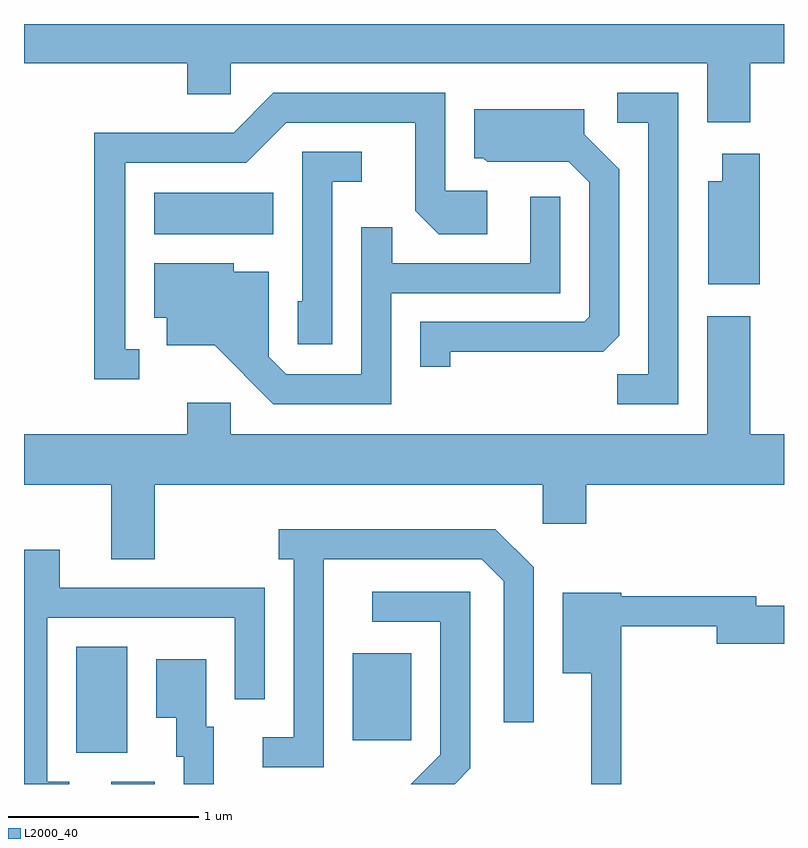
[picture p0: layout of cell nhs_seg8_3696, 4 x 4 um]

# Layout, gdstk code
import gdstk
lib = gdstk.Library(unit=1e-6, precision=1e-09)
def R(c, l, rs):  # rectangles x0, y0, x1, y1
    for r in rs: c.add(gdstk.rectangle(r[:2], r[2:], *l))
def P(c, l, *ps):  # polygons
    for p in ps: c.add(gdstk.Polygon(p, *l))
L2000_40 = (2000, 40)

nhs_seg8_3696 = lib.new_cell('nhs_seg8_3696')
R(nhs_seg8_3696, L2000_40, [(296.071,1890.342,296.299,1890.354), (295.886,1890.506,296.154,1891.064), (297.341,1890.571,297.649,1891.029), (296.296,1893.236,296.924,1893.454)])
P(nhs_seg8_3696, L2000_40, [(299.434,1894.136),(299.611,1894.136),(299.611,1894.342),(295.611,1894.342),(295.611,1894.136),(296.471,1894.136),(296.471,1893.971),(296.699,1893.971),(296.699,1894.136),(299.206,1894.136),(299.206,1893.826),(299.434,1893.826)],
  [(296.218,1892.629),(296.144,1892.629),(296.144,1893.611),(296.782,1893.611),(296.992,1893.821),(297.671,1893.821),(297.671,1893.359),(297.794,1893.236),(298.049,1893.236),(298.049,1893.464),(297.829,1893.464),(297.829,1893.979),(296.924,1893.979),(296.714,1893.769),(295.981,1893.769),(295.981,1892.471),(296.218,1892.471)],
  [(299.054,1893.979),(298.733,1893.979),(298.733,1893.821),(298.896,1893.821),(298.896,1892.499),(298.733,1892.499),(298.733,1892.341),(299.054,1892.341)],
  [(297.854,1892.616),(298.659,1892.616),(298.744,1892.702),(298.744,1893.577),(298.559,1893.762),(298.559,1893.894),(297.981,1893.894),(297.981,1893.636),(298.029,1893.636),(298.049,1893.616),(298.479,1893.616),(298.586,1893.509),(298.586,1892.802),(298.559,1892.774),(297.696,1892.774),(297.696,1892.538),(297.854,1892.538)],
  [(297.234,1893.511),(297.388,1893.511),(297.388,1893.669),(297.076,1893.669),(297.076,1892.884),(297.051,1892.884),(297.051,1892.656),(297.234,1892.656)],
  [(299.484,1893.659),(299.286,1893.659),(299.286,1893.514),(299.211,1893.514),(299.211,1892.971),(299.484,1892.971)],
  [(297.544,1892.926),(298.434,1892.926),(298.434,1893.433),(298.276,1893.433),(298.276,1893.084),(297.549,1893.084),(297.549,1893.273),(297.386,1893.273),(297.386,1892.499),(296.992,1892.499),(296.899,1892.592),(296.899,1893.039),(296.714,1893.039),(296.714,1893.084),(296.296,1893.084),(296.296,1892.796),(296.361,1892.796),(296.361,1892.651),(296.614,1892.651),(296.924,1892.341),(297.544,1892.341)],
  [(296.299,1891.916),(298.341,1891.916),(298.341,1891.711),(298.569,1891.711),(298.569,1891.916),(299.611,1891.916),(299.611,1892.184),(299.434,1892.184),(299.434,1892.804),(299.206,1892.804),(299.206,1892.184),(296.699,1892.184),(296.699,1892.349),(296.471,1892.349),(296.471,1892.184),(295.611,1892.184),(295.611,1891.916),(296.071,1891.916),(296.071,1891.526),(296.299,1891.526)],
  [(297.189,1891.526),(298.019,1891.526),(298.136,1891.409),(298.136,1890.668),(298.294,1890.668),(298.294,1891.482),(298.092,1891.684),(296.953,1891.684),(296.953,1891.526),(297.031,1891.526),(297.031,1890.589),(296.868,1890.589),(296.868,1890.431),(297.189,1890.431)],
  [(295.848,1890.354),(295.734,1890.354),(295.734,1891.216),(296.721,1891.216),(296.721,1890.788),(296.879,1890.788),(296.879,1891.374),(295.799,1891.374),(295.799,1891.574),(295.611,1891.574),(295.611,1890.342),(295.848,1890.342)],
  [(297.959,1890.424),(297.959,1891.354),(297.443,1891.354),(297.443,1891.196),(297.801,1891.196),(297.801,1890.497),(297.647,1890.342),(297.877,1890.342)],
  [(298.754,1891.171),(299.256,1891.171),(299.256,1891.081),(299.611,1891.081),(299.611,1891.279),(299.464,1891.279),(299.464,1891.329),(298.754,1891.329),(298.754,1891.349),(298.446,1891.349),(298.446,1890.926),(298.596,1890.926),(298.596,1890.342),(298.754,1890.342)],
  [(296.609,1890.644),(296.569,1890.644),(296.569,1890.999),(296.306,1890.999),(296.306,1890.691),(296.411,1890.691),(296.411,1890.486),(296.451,1890.486),(296.451,1890.342),(296.609,1890.342)])

lib.write_gds('nhs_seg8_3696.gds')
